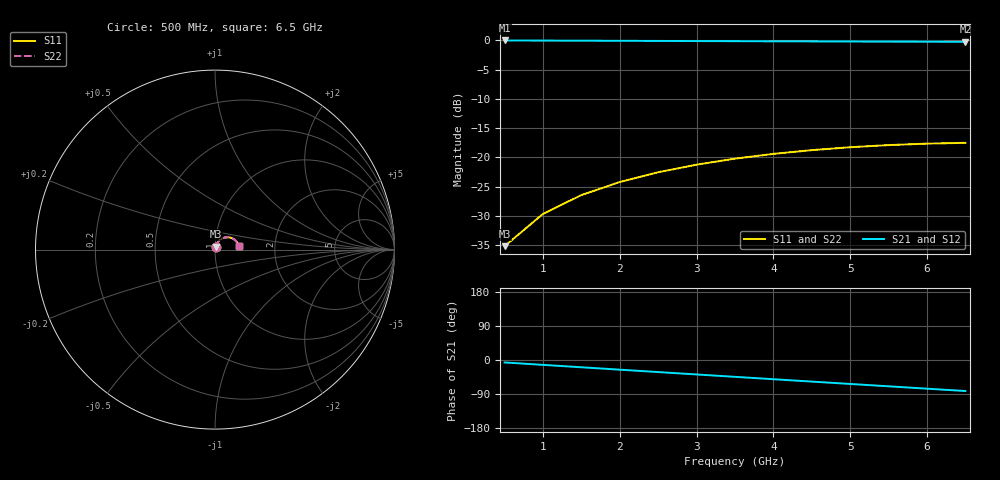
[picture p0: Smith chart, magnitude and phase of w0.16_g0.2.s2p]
! Sonnet Data File
! From: em Version : 19.54.2026
! From Project: w0.16_g0.2
! Data is De-embedded
! Data File Written: 11/09/2026 23:39:22
!< HDATE 11/09/2026 23:38:35
!< MDATE 11/09/2026 23:38:35
# GHZ S RI R 50.00000
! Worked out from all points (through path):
!   13 points, 500 MHz to 6.5 GHz, reference 50 ohm
!   highest |S21| = -0.03 dB at 500 MHz (marker M1); lowest = -0.3 dB at 6.5 GHz (marker M2)
!   group delay of S21, straight-line fit = 34.9 ps
!   lowest |S11| = -35.2 dB at 500 MHz (marker M3), VSWR 1.04, Z = 50.3 + j1.71 ohm
!   |S11| at or under -10 dB: start of sweep to end of sweep
!   |S22| runs from -35.2 to -17.5 dB; largest |S21 - S12| = 1.2e-12
0.5  0.00365 0.017  0.9901 -0.1122  0.9901 -0.1122  0.00365 0.017
1  0.00919 0.0315  0.9693 -0.2209  0.9693 -0.2209  0.00919 0.0315
1.5  0.0174 0.0442  0.9367 -0.3261  0.9367 -0.3261  0.0174 0.0442
2  0.0281 0.0547  0.8929 -0.4265  0.8929 -0.4265  0.0281 0.0547
2.5  0.0405 0.0625  0.8386 -0.5209  0.8386 -0.5209  0.0405 0.0625
3  0.0543 0.0673  0.7745 -0.6084  0.7745 -0.6084  0.0543 0.0673
3.5  0.0686 0.069  0.7015 -0.6879  0.7015 -0.6879  0.0686 0.069
4  0.0829 0.0675  0.6207 -0.7586  0.6207 -0.7586  0.0829 0.0675
4.5  0.0963 0.063  0.5331 -0.8198  0.5331 -0.8198  0.0963 0.063
5  0.1084 0.0557  0.4399 -0.871  0.4399 -0.871  0.1084 0.0557
5.5  0.1185 0.046  0.3421 -0.9118  0.3421 -0.9118  0.1185 0.046
6  0.1262 0.0343  0.2409 -0.9418  0.2409 -0.9418  0.1262 0.0343
6.5  0.1312 0.0213  0.1374 -0.9608  0.1374 -0.9608  0.1312 0.0213
